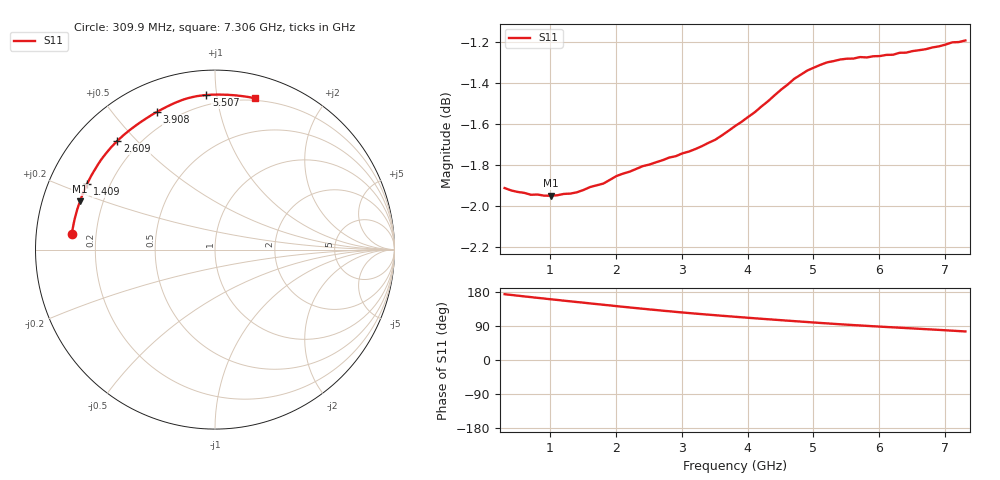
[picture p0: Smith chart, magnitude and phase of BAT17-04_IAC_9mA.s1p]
! Infineon Technologies  Discrete & RF Semiconductors
! BAT17-04
! IAC = 9 mA
! One-Port S-Parameters
# Hz  S  MA  R  50
!f  S11
!Hz  Mag  Ang
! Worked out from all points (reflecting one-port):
!   71 points, 309.9 MHz to 7.306 GHz, reference 50 ohm
!   lowest |S11| = -1.9 dB at 1.01 GHz (marker M1), VSWR 8.95, Z = 5.75 + j8.59 ohm
!   phase of S11 starts at 174 deg and turns -98 deg over the sweep
!   S11 on the Smith chart (normalised r, x): 309.9 MHz: 0.11, +0.05; 1.409 GHz: 0.12, +0.24; 2.609 GHz: 0.12, +0.44; 3.908 GHz: 0.13, +0.66; 5.507 GHz: 0.14, +0.94; 7.306 GHz: 0.18, +1.28
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3.0985e8  0.8024 173.6
6.097e8  0.8003 167.8
8.096e8  0.7995 164.0
1.0095e9  0.799 160.2
1.2094e9  0.7998 156.6
1.4093e9  0.8005 153.0
1.50925e9  0.8016 151.2
1.70915e9  0.8037 147.5
1.90905e9  0.8061 144.0
2.10895e9  0.8089 140.4
2.4088e9  0.8123 135.2
2.6087e9  0.8141 131.9
2.70865e9  0.815 130.2
3.0085e9  0.8182 125.4
3.30835e9  0.8215 121.0
3.6082e9  0.8264 116.7
3.8081e9  0.8307 114.1
3.90805e9  0.8327 112.7
4.30785e9  0.8423 107.6
4.70765e9  0.853 102.6
4.90755e9  0.857 100.2
5.10745e9  0.8598 97.7
5.50725e9  0.8627 93.2
5.6072e9  0.8628 92.1
6.10695e9  0.8645 87.1
6.50675e9  0.8664 83.3
7.10645e9  0.8706 77.4
7.30635e9  0.8715 75.3
